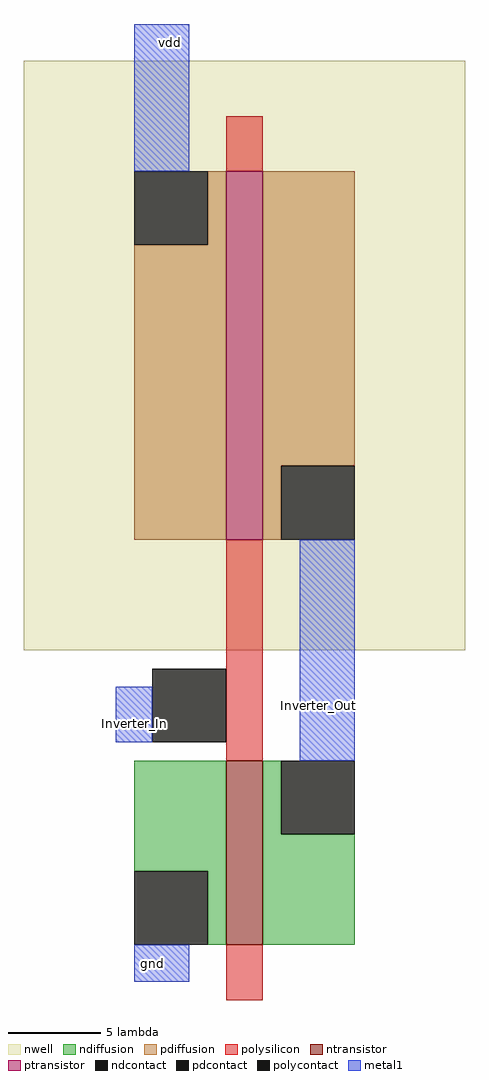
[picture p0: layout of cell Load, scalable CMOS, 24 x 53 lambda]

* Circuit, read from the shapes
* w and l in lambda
.subckt Load Inverter_In Inverter_Out gnd vdd
M1 Inverter_Out Inverter_In gnd VSUBS nfet w=10 l=2
M2 Inverter_Out Inverter_In vdd n1 pfet w=20 l=2
.ends

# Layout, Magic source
magic
tech scmos
<< nwell >>
rect 0 20 24 52
<< ntransistor >>
rect 11 4 13 14
<< ptransistor >>
rect 11 26 13 46
<< ndiffusion >>
rect 6 8 11 14
rect 10 4 11 8
rect 13 10 14 14
rect 13 4 18 10
<< pdiffusion >>
rect 10 42 11 46
rect 6 26 11 42
rect 13 30 18 46
rect 13 26 14 30
<< ndcontact >>
rect 6 4 10 8
rect 14 10 18 14
<< pdcontact >>
rect 6 42 10 46
rect 14 26 18 30
<< polysilicon >>
rect 11 46 13 49
rect 11 14 13 26
rect 11 1 13 4
<< polycontact >>
rect 7 15 11 19
<< metal1 >>
rect 6 46 9 54
rect 5 15 7 18
rect 15 14 18 26
rect 6 2 9 4
<< labels >>
rlabel metal1 16 17 16 17 1 Inverter_Out
rlabel metal1 6 16 6 16 1 Inverter_In
rlabel metal1 8 53 8 53 5 vdd
rlabel metal1 7 3 7 3 1 gnd
<< end >>
